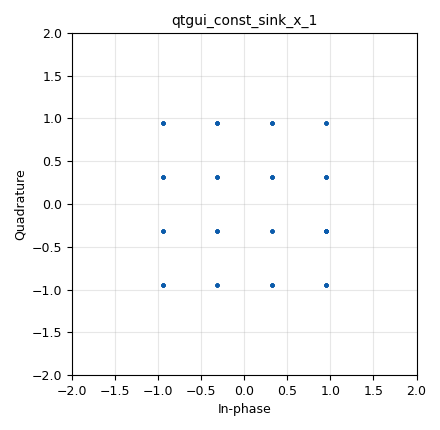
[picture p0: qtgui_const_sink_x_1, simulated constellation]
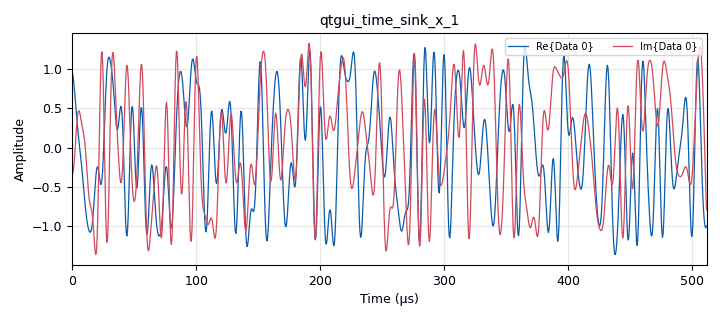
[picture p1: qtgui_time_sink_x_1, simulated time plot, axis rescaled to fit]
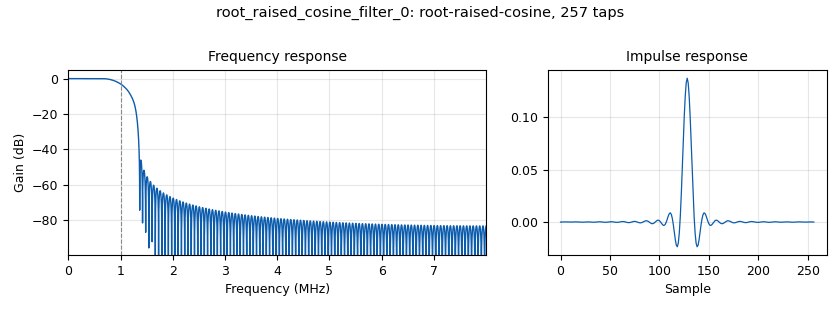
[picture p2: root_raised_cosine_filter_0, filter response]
options:
  parameters:
    generate_options: qt_gui
    id: test_001_transmitter
    output_language: python
    title: Wireless digital transmitter
  states: {}

blocks:
- name: core
  id: variable
  parameters:
    value: '[1]'
  states: {}
- name: samp_rate
  id: variable
  parameters:
    value: '2000000'
  states: {}
- name: test_constellation
  id: variable_constellation
  parameters:
    npwr: '1'
    precision: '8'
    type: 16qam
  states: {}
- name: analog_random_uniform_source_x_0
  id: analog_random_uniform_source_x
  parameters:
    maximum: '16'
    minimum: '0'
    seed: '0'
    type: byte
  states: {}
- name: blocks_file_sink_0
  id: blocks_file_sink
  parameters:
    file: vector_source
    type: byte
  states: {state: disabled}
- name: blocks_file_sink_0_0
  id: blocks_file_sink
  parameters:
    file: packed
    type: byte
  states: {state: disabled}
- name: blocks_file_sink_0_0_0
  id: blocks_file_sink
  parameters:
    file: 16qam
    type: complex
  states: {state: disabled}
- name: blocks_throttle2_0
  id: blocks_throttle2
  parameters:
    samples_per_second: samp_rate
    type: byte
  states: {}
- name: blocks_uchar_to_float_0
  id: blocks_uchar_to_float
  parameters:
    maxoutbuf: '1'
  states: {state: disabled}
- name: blocks_unpacked_to_packed_xx_0
  id: blocks_unpacked_to_packed_xx
  parameters:
    bits_per_chunk: '4'
    endianness: gr.GR_MSB_FIRST
    type: byte
  states: {}
- name: blocks_vector_source_x_0
  id: blocks_vector_source_x
  parameters:
    repeat: 'True'
    type: byte
    vector: tuple(range(16))
  states: {state: disabled}
- name: digital_chunks_to_symbols_xx_0
  id: digital_chunks_to_symbols_xx
  parameters:
    dimension: '2'
    in_type: byte
    out_type: complex
    symbol_table: '[-3 -3j, -1 -3j, 1 -3j, 3 -3j, -3 -1j, -1 -1j, 1 -1j, 3 -1j, -3 +1j, -1 +1j, 1 +1j, 3 +1j, -3 +3j, -1 +3j, 1 +3j, 3 +3j]'
  states: {state: disabled}
- name: digital_constellation_encoder_bc_0
  id: digital_constellation_encoder_bc
  parameters:
    constellation: test_constellation
    maxoutbuf: '1'
  states: {state: disabled}
- name: digital_constellation_modulator_0
  id: digital_constellation_modulator
  parameters:
    constellation: test_constellation
    differential: 'False'
    excess_bw: '0.35'
    samples_per_symbol: '8'
  states: {}
- name: qtgui_const_sink_x_0
  id: qtgui_const_sink_x
  parameters:
    autoscale: 'True'
    size: '1024'
    tr_mode: qtgui.TRIG_MODE_NORM
    type: complex
  states: {state: disabled}
- name: qtgui_const_sink_x_1
  id: qtgui_const_sink_x
  parameters:
    size: '1024'
    type: complex
    update_time: '0.1'
  states: {}
- name: qtgui_const_sink_x_1_0
  id: qtgui_const_sink_x
  parameters:
    size: '1'
    type: complex
  states: {state: disabled}
- name: qtgui_const_sink_x_1_0_0
  id: qtgui_const_sink_x
  parameters:
    size: '1'
    type: complex
  states: {state: disabled}
- name: qtgui_number_sink_0
  id: qtgui_number_sink
  parameters:
    graph_type: qtgui.NUM_GRAPH_NONE
    type: float
  states: {state: disabled}
- name: qtgui_time_sink_x_0
  id: qtgui_time_sink_x
  parameters:
    size: '10'
    srate: samp_rate
    stemplot: 'True'
    type: float
    update_time: '0.02'
  states: {state: disabled}
- name: qtgui_time_sink_x_1
  id: qtgui_time_sink_x
  parameters:
    size: '1024'
    srate: samp_rate
    type: complex
  states: {}
- name: root_raised_cosine_filter_0
  id: root_raised_cosine_filter
  parameters:
    alpha: '0.35'
    decim: '8'
    gain: '1'
    ntaps: 8*32
    samp_rate: 8*samp_rate
    sym_rate: samp_rate
    type: fir_filter_ccf
  states: {}
- name: root_raised_cosine_filter_1
  id: root_raised_cosine_filter
  parameters:
    alpha: '0.35'
    gain: '1'
    interp: '8'
    ntaps: 11*samp_rate
    samp_rate: samp_rate
    sym_rate: samp_rate
    type: interp_fir_filter_ccf
  states: {state: disabled}
- name: root_raised_cosine_filter_1_0
  id: root_raised_cosine_filter
  parameters:
    alpha: '0.35'
    decim: '18'
    gain: '1'
    interp: '8'
    ntaps: 11*samp_rate
    samp_rate: 8*samp_rate
    sym_rate: samp_rate
    type: fir_filter_ccf
  states: {state: disabled}

connections:
- [analog_random_uniform_source_x_0, '0', blocks_throttle2_0, '0']
- [blocks_throttle2_0, '0', blocks_file_sink_0, '0']
- [blocks_throttle2_0, '0', blocks_uchar_to_float_0, '0']
- [blocks_throttle2_0, '0', blocks_unpacked_to_packed_xx_0, '0']
- [blocks_throttle2_0, '0', digital_chunks_to_symbols_xx_0, '0']
- [blocks_throttle2_0, '0', digital_constellation_encoder_bc_0, '0']
- [blocks_uchar_to_float_0, '0', qtgui_number_sink_0, '0']
- [blocks_uchar_to_float_0, '0', qtgui_time_sink_x_0, '0']
- [blocks_unpacked_to_packed_xx_0, '0', blocks_file_sink_0_0, '0']
- [blocks_unpacked_to_packed_xx_0, '0', digital_constellation_modulator_0, '0']
- [blocks_vector_source_x_0, '0', blocks_throttle2_0, '0']
- [digital_chunks_to_symbols_xx_0, '0', qtgui_const_sink_x_0, '0']
- [digital_constellation_encoder_bc_0, '0', qtgui_const_sink_x_1_0, '0']
- [digital_constellation_encoder_bc_0, '0', root_raised_cosine_filter_1, '0']
- [digital_constellation_modulator_0, '0', blocks_file_sink_0_0_0, '0']
- [digital_constellation_modulator_0, '0', qtgui_time_sink_x_1, '0']
- [digital_constellation_modulator_0, '0', root_raised_cosine_filter_0, '0']
- [root_raised_cosine_filter_0, '0', qtgui_const_sink_x_1, '0']
- [root_raised_cosine_filter_1, '0', root_raised_cosine_filter_1_0, '0']
- [root_raised_cosine_filter_1_0, '0', qtgui_const_sink_x_1_0_0, '0']

metadata:
  file_format: 1
  grc_version: 3.10.11.0
